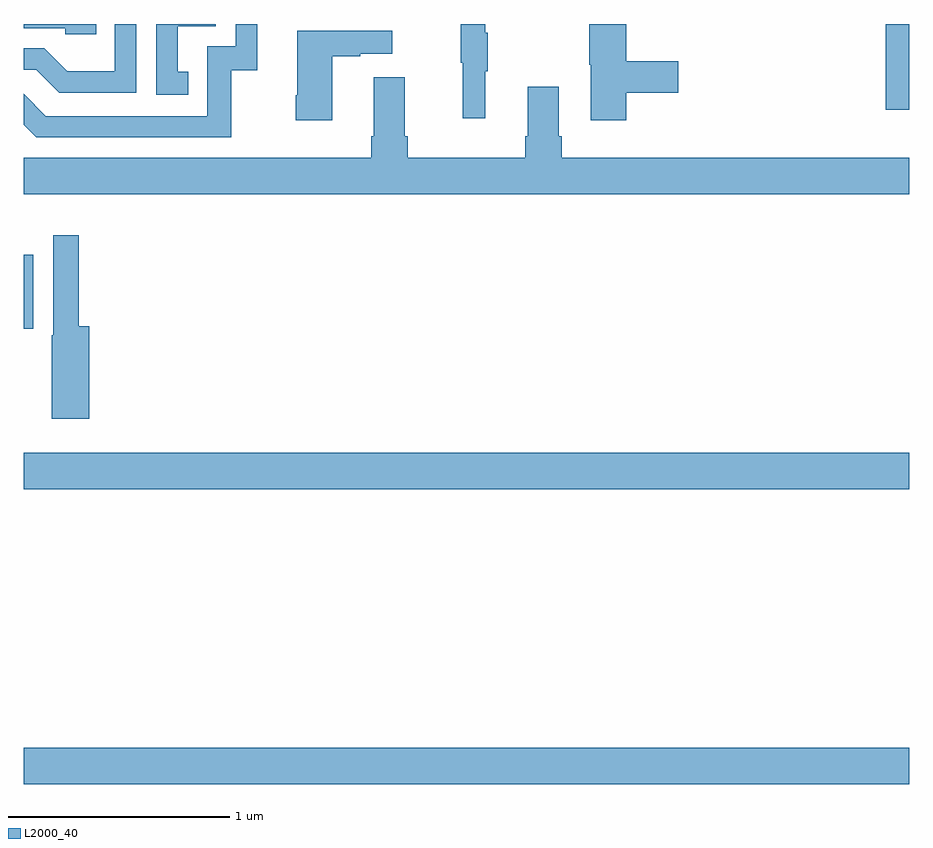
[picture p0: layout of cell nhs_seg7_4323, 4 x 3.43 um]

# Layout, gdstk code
import gdstk
lib = gdstk.Library(unit=1e-6, precision=1e-09)
def R(c, l, rs):  # rectangles x0, y0, x1, y1
    for r in rs: c.add(gdstk.rectangle(r[:2], r[2:], *l))
def P(c, l, *ps):  # polygons
    for p in ps: c.add(gdstk.Polygon(p, *l))
L2000_40 = (2000, 40)

nhs_seg7_4323 = lib.new_cell('nhs_seg7_4323')
R(nhs_seg7_4323, L2000_40, [(383,1048.568,387,1048.732), (383,1049.9,387,1050.064), (383,1050.624,383.043,1050.958), (386.893,1051.613,387,1052)])
P(nhs_seg7_4323, L2000_40, [(383.327,1052),(383,1052),(383,1051.98),(383.187,1051.98),(383.187,1051.953),(383.327,1051.953)],
  [(383.744,1051.785),(383.695,1051.785),(383.695,1051.989),(383.868,1051.989),(383.868,1052),(383.598,1052),(383.598,1051.68),(383.744,1051.68)],
  [(383.508,1052),(383.412,1052),(383.412,1051.786),(383.198,1051.786),(383.094,1051.89),(383,1051.89),(383,1051.794),(383.057,1051.794),(383.162,1051.689),(383.508,1051.689)],
  [(385.085,1051.787),(385.096,1051.787),(385.096,1051.961),(385.085,1051.961),(385.085,1052),(384.975,1052),(384.975,1051.824),(384.982,1051.824),(384.982,1051.575),(385.085,1051.575)],
  [(383.938,1051.791),(384.056,1051.791),(384.056,1052),(383.958,1052),(383.958,1051.899),(383.829,1051.899),(383.829,1051.584),(383.1,1051.584),(383,1051.684),(383,1051.546),(383.058,1051.488),(383.938,1051.488)],
  [(385.721,1051.69),(385.957,1051.69),(385.957,1051.832),(385.721,1051.832),(385.721,1052),(385.555,1052),(385.555,1051.815),(385.562,1051.815),(385.562,1051.566),(385.721,1051.566)],
  [(384.394,1051.855),(384.521,1051.855),(384.521,1051.865),(384.664,1051.865),(384.664,1051.969),(384.236,1051.969),(384.236,1051.678),(384.229,1051.678),(384.229,1051.566),(384.394,1051.566)],
  [(387,1051.396),(385.43,1051.396),(385.43,1051.492),(385.417,1051.492),(385.417,1051.717),(385.277,1051.717),(385.277,1051.492),(385.265,1051.492),(385.265,1051.396),(384.734,1051.396),(384.734,1051.492),(384.721,1051.492),(384.721,1051.759),(384.581,1051.759),(384.581,1051.492),(384.569,1051.492),(384.569,1051.396),(383,1051.396),(383,1051.232),(387,1051.232)],
  [(383.297,1050.634),(383.249,1050.634),(383.249,1051.045),(383.133,1051.045),(383.133,1050.594),(383.126,1050.594),(383.126,1050.218),(383.297,1050.218)])

lib.write_gds('nhs_seg7_4323.gds')
